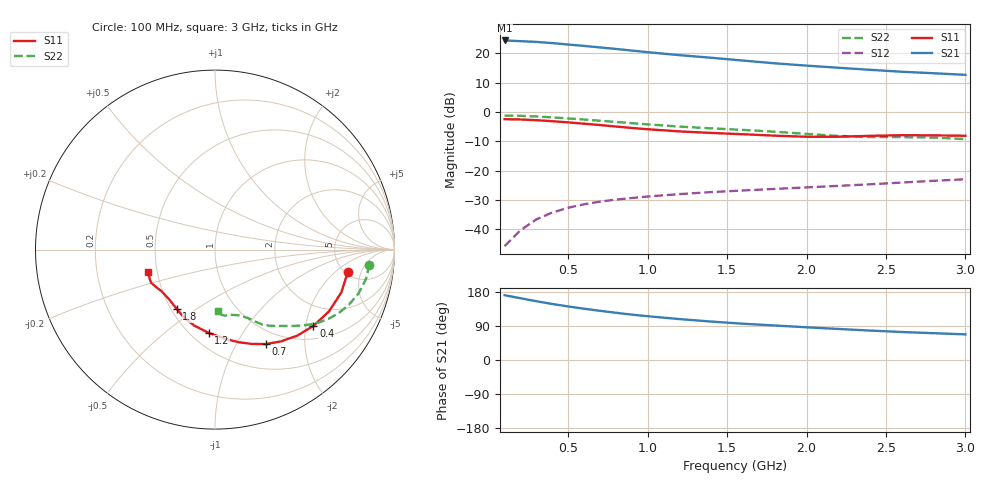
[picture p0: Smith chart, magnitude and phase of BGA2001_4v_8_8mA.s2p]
! Title: BGA2001
! Bias: Vce=4.0V,Ic=8.8mA
! Company: Philips Semiconductors NL
! User: Quality&Reliability T&D
! Measure time: 23 Oct 1998 / 09:21:29
#  MHz  S  MA  R 50
! Freq  S11  S21  S12  S22  :
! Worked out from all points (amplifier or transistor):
!   20 points, 100 MHz to 3 GHz, reference 50 ohm
!   highest |S21| = 24.3 dB at 100 MHz (marker M1)
!   |S21| within 3 dB of that: start of sweep to 821.4 MHz
!   unconditionally stable (mu >= 1): 1.763 GHz to end of sweep
!   at 400 MHz: K = 0.37, MSG = 28.9 dB, |S12| = -34.3 dB
!   at 1.2 GHz: K = 0.75, MSG = 23.7 dB, |S12| = -28.0 dB
!   at 3 GHz: K = 1.25, MAG = 14.8 dB, |S12| = -22.9 dB
!   S11 on the Smith chart (normalised r, x): 100 MHz: 5.31, -2.98; 400 MHz: 1.35, -2.21; 700 MHz: 0.81, -1.33; 1.2 GHz: 0.61, -0.72; 1.8 GHz: 0.53, -0.42; 3 GHz: 0.45, -0.13
100  0.751 -9.4  16.46 170.9  0.005168 67.5  0.8644 -5.5
200  0.743 -18.8  16.02 163.0  0.009652 75.0  0.8566 -11.2
300  0.7223 -28.5  15.55 155.1  0.0148 74.3  0.8357 -17.1
400  0.6936 -37.8  14.85 147.8  0.01932 71.0  0.8062 -22.4
500  0.6632 -46.3  14.03 141.3  0.02332 67.7  0.7743 -27.2
600  0.6297 -54.4  13.29 135.3  0.02669 65.0  0.7405 -31.4
700  0.5975 -61.7  12.51 129.8  0.02961 62.7  0.7075 -35.0
800  0.5634 -68.9  11.82 124.6  0.03208 60.8  0.6747 -38.2
900  0.5331 -75.5  11.08 119.8  0.03416 59.4  0.6429 -41.1
1000  0.5061 -82.0  10.39 115.6  0.03624 58.5  0.6131 -43.9
1200  0.4653 -94.4  9.257 108.0  0.0398 57.2  0.5618 -49.2
1400  0.4382 -105.5  8.357 101.4  0.04308 56.7  0.5245 -54.1
1600  0.4164 -114.3  7.483 95.7  0.04587 57.3  0.493 -57.9
1800  0.3934 -122.9  6.719 91.1  0.04878 58.7  0.4596 -60.8
2000  0.3769 -132.4  6.138 86.3  0.05177 59.3  0.4215 -64.5
2200  0.3774 -141.8  5.646 81.9  0.05498 59.6  0.3894 -70.0
2400  0.3909 -148.5  5.205 77.7  0.05852 60.5  0.3736 -76.5
2600  0.4011 -152.5  4.823 73.9  0.0626 62.0  0.3719 -81.4
2800  0.3985 -156.3  4.553 70.7  0.06706 62.3  0.3654 -84.3
3000  0.3918 -161.5  4.276 67.6  0.07128 62.9  0.3444 -87.1
